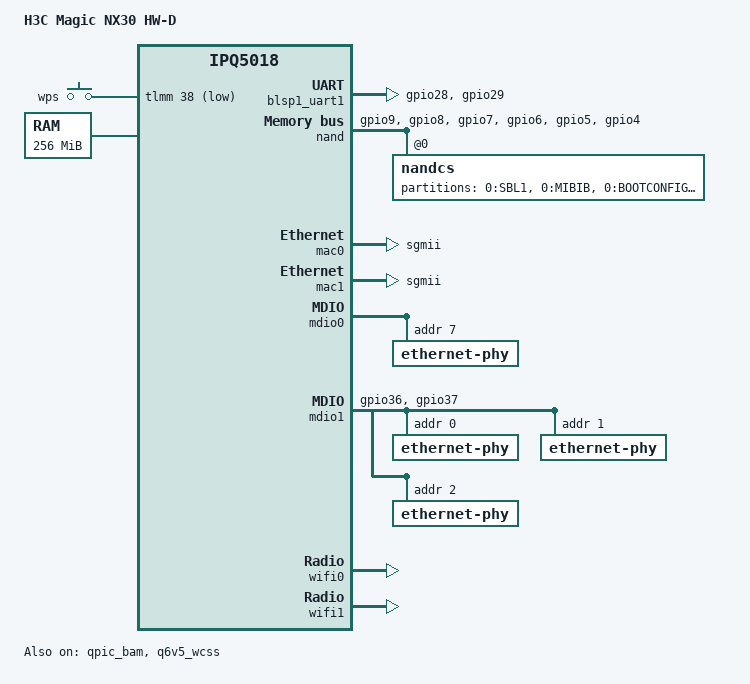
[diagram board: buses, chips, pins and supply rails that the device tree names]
// SPDX-License-Identifier: GPL-2.0-or-later OR MIT
/*
 * Exact-device HW-D profile: NX30, IPQ5000, W25N01GWZEIG EF:BA:21.
 * Uses QSDK 11.5 IPQ5018/ath11k bindings, with only same-device OEM facts
 * ported after fresh FDT and switch inspection. The WPS key is modelled
 * from the same-device OEM FDT (tlmm gpio38, KEY_WPS_BUTTON, active-low,
 * 60 ms debounce). No LED pin has OEM evidence, so LEDs stay unmodelled
 * rather than guessed.
 * The installed D U-Boot accepts the OEM-shaped config@mp02.1 FIT route;
 * therefore rootfs extent/label nodes are intentionally absent. Linux owns
 * the explicit physical A/B map through the early storage-bootargs hook.
 */

/dts-v1/;

#include "ipq5018.dtsi"
#include <dt-bindings/gpio/gpio.h>
#include <dt-bindings/input/linux-event-codes.h>

/ {
	model = "H3C Magic NX30 HW-D";
	compatible = "h3c,nx30-hw-d", "qcom,ipq5018-mp02.1", "qcom,ipq5018";

	#address-cells = <2>;
	#size-cells = <2>;
	interrupt-parent = <&intc>;

	aliases {
		serial0 = &blsp1_uart1;

		ethernet0 = &mac0;
		ethernet1 = &mac1;
	};

	/* WPS key, straight from the same-device OEM FDT: tlmm gpio38,
	 * active-low, 60 ms debounce, EV_KEY/KEY_WPS_BUTTON.  The OEM key
	 * node carries pinctrl-0 -> button_pins; that group is reproduced
	 * below as wps_button_pins. */
	gpio_keys {
		compatible = "gpio-keys";
		pinctrl-0 = <&wps_button_pins>;
		pinctrl-names = "default";

		button@1 {
			label = "wps";
			linux,code = <KEY_WPS_BUTTON>;
			linux,input-type = <EV_KEY>;
			gpios = <&tlmm 38 GPIO_ACTIVE_LOW>;
			debounce-interval = <60>;
		};
	};

	/* Physical NOR is absent on this NAND board. D U-Boot requires this
	 * exact disabled compatibility stub when it fixes up an OEM FIT. */
	soc {
		spi@78b5000 {
			compatible = "qcom,spi-qup-v2.2.1";
			#address-cells = <1>;
			#size-cells = <0>;
			status = "disabled";
			m25p80@0 {
				compatible = "n25q128a11";
				reg = <0>;
				status = "disabled";
			};
		};
	};

	chosen {
		bootargs-append = " swiotlb=1 loglevel=3";
		/* Applied after removing inherited storage selectors; ECC/console stay. */
		h3c,storage-bootargs = "mtdparts=qcom_nand.0:0x80000@0(0:SBL1)ro,0x80000@0x80000(0:MIBIB)ro,0x40000@0x100000(0:BOOTCONFIG)ro,0x40000@0x140000(0:BOOTCONFIG1)ro,0x100000@0x180000(0:QSEE)ro,0x100000@0x280000(0:QSEE_1)ro,0x40000@0x380000(0:DEVCFG)ro,0x40000@0x3c0000(0:DEVCFG_1)ro,0x40000@0x400000(0:CDT)ro,0x40000@0x440000(0:CDT_1)ro,0x80000@0x480000(0:APPSBLENV)ro,0x140000@0x500000(0:APPSBL)ro,0x140000@0x640000(0:APPSBL_1)ro,0x100000@0x780000(0:ART)ro,0x80000@0x880000(0:TRAINING)ro,0x2800000@0x900000(rootfs),0x2800000@0x3100000(oem_rootfs)ro,0x600000@0x5900000(pdt_data)ro,0x600000@0x5f00000(pdt_data_1)ro,0x100000@0x6500000(exp)ro,0x1700000@0x6600000(plugin)ro ubi.mtd=rootfs ubi.block=0,1 root=/dev/ubiblock0_1 rootfstype=squashfs rootwait";
		stdout-path = "serial0:115200n8";
	};


	/* HW-D has 256 MiB integrated RAM (fresh same-device OEM FDT); state it explicitly so a RAM
	 * FIT is independent of what OEM U-Boot passes in the FDT. */
	memory {
		device_type = "memory";
		reg = <0x0 0x40000000 0x0 0x10000000>;
	};

	reserved-memory {
		q6_mem_regions: q6_mem_regions@4b000000 {
			no-map;
#ifndef CONFIG_ATH11K_MEM_PROFILE_256M
			reg = <0x0 0x4b000000 0x0 0x3b00000>;
#else
			reg = <0x0 0x4b000000 0x0 0x4500000>;
#endif
		};
	};
};

&tmc_etr {
	/delete-property/ memory-region;
};

&tlmm {
	blsp_uart0_pins: blsp_uart0_pins {
		pins =
			"gpio28", // RX
			"gpio29"; // TX
		function = "blsp0_uart1";
		drive-strength = <8>;
		bias-disable;
	};

	qspi_nand_pins: qspi_nand_pins {
		clock {
			pins = "gpio9";
			function = "qspi_clk";
			drive-strength = <8>;
			bias-disable;
		};

		cs {
			pins = "gpio8";
			function = "qspi_cs";
			drive-strength = <8>;
			bias-disable;
		};

		data {
			pins = "gpio7", "gpio6", "gpio5", "gpio4";
			function = "qspi_data";
			drive-strength = <8>;
			bias-disable;
		};
	};


	/* MDIO1 (to the external QCA8337).  Without this pinmux the bus
	 * cannot clock and every mdio@90000 transaction returns 0x0000.
	 * Values match the fresh same-device OEM FDT. */
	mdio1_pins: mdio1_pins {
		mux_0 {
			pins = "gpio36";
			function = "mdc";
			drive-strength = <8>;
			bias-pull-up;
		};

		mux_1 {
			pins = "gpio37";
			function = "mdio";
			drive-strength = <8>;
			bias-pull-up;
		};
	};

	/* OEM button_pins group: the WPS pin is also biased up in the pin
	 * configuration, so keep the same drive-strength/bias rather than
	 * relying on the gpio-keys active-low flag alone. */
	wps_button_pins: wps_button_pins {
		pins = "gpio38";
		function = "gpio";
		drive-strength = <8>;
		bias-pull-up;
	};

};

&blsp1_uart1 {
	pinctrl-0 = <&blsp_uart0_pins>;
	pinctrl-names = "default";
	status = "ok";
};

&qpic_bam {
	status = "ok";
};

&nand {
	h3c,nx30-hw-d-nand-safe-config;
	pinctrl-0 = <&qspi_nand_pins>;
	pinctrl-names = "default";
	status = "ok";

	nandcs@0 {
		partitions {
			compatible = "fixed-partitions";
			#address-cells = <1>;
			#size-cells = <1>;

			partition@0 {
				label = "0:SBL1";
				reg = <0x000000 0x080000>;
				read-only;
			};
			partition@80000 {
				label = "0:MIBIB";
				reg = <0x080000 0x080000>;
				read-only;
			};
			partition@100000 {
				label = "0:BOOTCONFIG";
				reg = <0x100000 0x040000>;
			};
			partition@140000 {
				label = "0:BOOTCONFIG1";
				reg = <0x140000 0x040000>;
			};
			partition@180000 {
				label = "0:QSEE";
				reg = <0x180000 0x100000>;
				read-only;
			};
			partition@280000 {
				label = "0:QSEE_1";
				reg = <0x280000 0x100000>;
				read-only;
			};
			partition@380000 {
				label = "0:DEVCFG";
				reg = <0x380000 0x040000>;
				read-only;
			};
			partition@3c0000 {
				label = "0:DEVCFG_1";
				reg = <0x3c0000 0x040000>;
				read-only;
			};
			partition@400000 {
				label = "0:CDT";
				reg = <0x400000 0x040000>;
				read-only;
			};
			partition@440000 {
				label = "0:CDT_1";
				reg = <0x440000 0x040000>;
				read-only;
			};
			partition@480000 {
				label = "0:APPSBLENV";
				reg = <0x480000 0x080000>;
				read-only;
			};
			partition@500000 {
				label = "0:APPSBL";
				reg = <0x500000 0x140000>;
				read-only;
			};
			partition@640000 {
				label = "0:APPSBL_1";
				reg = <0x640000 0x140000>;
				read-only;
			};
			partition@780000 {
				label = "0:ART";
				reg = <0x780000 0x100000>;
				read-only;
			};
			partition@880000 {
				label = "0:TRAINING";
				reg = <0x880000 0x080000>;
				read-only;
			};

			partition@5900000 {
				label = "pdt_data";
				reg = <0x5900000 0x00600000>;
				read-only;
			};
			partition@5f00000 {
				label = "pdt_data_1";
				reg = <0x5f00000 0x00600000>;
				read-only;
			};
			partition@6500000 {
				label = "exp";
				reg = <0x6500000 0x00100000>;
				read-only;
			};
			partition@6600000 {
				label = "plugin";
				reg = <0x6600000 0x01700000>;
				read-only;
			};
		};
	};
};

&soc {


	ess-instance {
		num_devices = <2>;

		/* Internal ESS (MAC0 side): WAN path via IPQ5018 GE PHY addr 7,
		 * MAC1 side forced to the QCA8337 SerDes. OEM-extracted values. */
		ess-switch@0x39c00000 {
			compatible = "qcom,ess-switch-ipq50xx";
			device_id = <0>;

			cmnblk_clk = "internal_96MHz";
			switch_mac_mode = <0xf>; /* PORT_WRAPPER_SGMII_CHANNEL0 */

			qcom,port_phyinfo {
				port@0 {
					port_id = <1>;

					mdiobus = <&mdio0>;
					phy_address = <7>;
				};

				port@1 {
					port_id = <2>;

					forced-speed = <1000>;
					forced-duplex = <1>;
				};
			};
		};

		/* External QCA8337 (HW-D hardware-validated live DTB):
		 * chip 0x1302, MDIO access, reset GPIO26 (AR8337 switch reset on HW-D),
		 * CPU bmp 0x40 (port6), LAN bmp 0x1c (ports 2,3,4 only; port1 unused and down),
		 * WAN bmp 0x0 (WAN jack rides the internal PHY path).
		 * qcom,port_phyinfo intentionally omitted: AR8337 LAN PHYs are
		 * managed by SSDK direct MDIO access (FIX-F1, frozen evidence). */
		ess-switch1@1 {
			compatible = "qcom,ess-switch-qca83xx";
			device_id = <1>;

			switch_access_mode = "mdio";
			mdio-bus = <&mdio1>;

			reset_gpio = <&tlmm 26 0>;

			qca,ar8327-initvals = <
				0x00004 0x7600000   /* PAD0_MODE */
				0x00008 0x1000000   /* PAD5_MODE */
				0x0000c 0x80        /* PAD6_MODE */
				0x00010 0x2613a0    /* PORT6 FORCE MODE */
				0x000e4 0xaa545     /* MAC_POWER_SEL */
				0x000e0 0xc74164de  /* SGMII_CTRL */
				0x0007c 0x4e        /* PORT0_STATUS */
				0x00094 0x4e        /* PORT6_STATUS */
			>;

			switch_cpu_bmp = <0x40>;
			switch_lan_bmp = <0x1c>;
			switch_wan_bmp = <0x0>;

			/* LAN PHYs live on the external switch: port_id 1-4 map to
			 * PHY addresses 0-3 on mdio1 (same-device OEM FDT port table). */
			qcom,port_phyinfo {
				port@0 {
					port_id = <1>;
					phy_address = <0>;
				};

				port@1 {
					port_id = <2>;
					phy_address = <1>;
				};

				port@2 {
					port_id = <3>;
					phy_address = <2>;
				};

				port@3 {
					port_id = <4>;
					phy_address = <3>;
				};
			};
		};
	};

	/* WAN: MAC0 -> internal GE PHY (addr 7 on mdio0) -> QCA8337 phy4/port5 */
	mac0: dp1 {
		compatible = "qcom,nss-dp";
		device_type = "network";
		qcom,id = <1>;

		reg = <0x39C00000 0x10000>;
		interrupts = <GIC_SPI 101 IRQ_TYPE_LEVEL_HIGH>;
		clocks = <&gcc GCC_SNOC_GMAC0_AXI_CLK>;
		clock-names = "nss-snoc-gmac-axi-clk";

		qcom,mactype = <2>; // GMAC_HAL_TYPE_SYN_GMAC
		local-mac-address = [000000000000];
		mdio-bus = <&mdio0>;
		qcom,phy-mdio-addr = <7>;
		phy-mode = "sgmii";
		qcom,rx-page-mode = <0>;
	};

	/* LAN/CPU path: MAC1 ---SGMII---> QCA8337 port6 */
	mac1: dp2 {
		compatible = "qcom,nss-dp";
		device_type = "network";
		qcom,id = <2>;

		reg = <0x39D00000 0x10000>;
		interrupts = <GIC_SPI 109 IRQ_TYPE_LEVEL_HIGH>;
		clocks = <&gcc GCC_SNOC_GMAC1_AXI_CLK>;
		clock-names = "nss-snoc-gmac-axi-clk";

		qcom,mactype = <2>; // GMAC_HAL_TYPE_SYN_GMAC
		local-mac-address = [000000000000];
		phy-mode = "sgmii";
		qcom,rx-page-mode = <0>;
	};
};

&mdio0 {
	status = "ok";

	// IPQ5018 GE Phy (addr 7) -> QCA8337 Phy4
	ethernet-phy@0 {
		reg = <7>;
	};
};

&mdio1 {
	status = "ok";
	pinctrl-0 = <&mdio1_pins>;
	pinctrl-names = "default";

	/* External QCA8337 reset.  The qca-mdio driver (mdio-qca.c) consumes
	 * this in qca_phy_reset(), driven BEFORE of_mdiobus_register():
	 *   gpio_direction_output(gpio, 0)  -> assert  (100ms)
	 *   gpio_set_value(gpio, 1)         -> release (100ms)
	 * Value and GPIO number are taken from the HW-D OEM working DTB
	 * (/proc/device-tree/soc/mdio@90000/phy-reset-gpio = <&tlmm 26 0>). */
	phy-reset-gpio = <&tlmm 26 0>;

	/* Three external PHYs, matching the OEM working device tree
	 * (ethernet-phy@0, @1, @2) and the driver's QCA_MAX_PHY_RESET limit. */
	ethernet-phy@0 {
		reg = <0>;
	};

	ethernet-phy@1 {
		reg = <1>;
	};

	ethernet-phy@2 {
		reg = <2>;
	};
};

&q6v5_wcss {
	compatible = "qcom,ipq5018-q6-mpd";
	#address-cells = <1>;
	#size-cells = <1>;
	ranges;

	resets =
		<&gcc GCC_WCSSAON_RESET>,
		<&gcc GCC_WCSS_Q6_BCR>;
	reset-names =
		"wcss_aon_reset",
		"wcss_q6_reset";

	clocks =
		<&gcc GCC_Q6_AXIS_CLK>,
		<&gcc GCC_WCSS_ECAHB_CLK>,
		<&gcc GCC_Q6_AXIM_CLK>,
		<&gcc GCC_Q6_AXIM2_CLK>,
		<&gcc GCC_Q6_AHB_CLK>,
		<&gcc GCC_Q6_AHB_S_CLK>,
		<&gcc GCC_WCSS_AXI_S_CLK>;
	clock-names =
		"gcc_q6_axis_clk",
		"gcc_wcss_ecahb_clk",
		"gcc_q6_axim_clk",
		"gcc_q6_axim2_clk",
		"gcc_q6_ahb_clk",
		"gcc_q6_ahb_s_clk",
		"gcc_wcss_axi_s_clk";

	reg =
		<0x0cd00000 0x4040>,
		<0x1938000 0x8>,
		<0x193d204 0x4>;
	reg-names =
		"qdsp6",
		"tcsr-msip",
		"tcsr-q6";

	memory-region = <&q6_mem_regions>;

	qcom,rproc = <&q6v5_wcss>;
	firmware = "IPQ5018/q6_fw.mdt";

	qcom,bootargs_smem = <507>;
	/* OEM-extracted HW-D UserPD boot-args (fresh same-device OEM FDT):
	 * {type 0x1, len 4, pd_id 3, gpio 0x0f}, {type 0x2(PCIE1), len 4,
	 *  pd_id 2, gpio 0x12} -- differs from the AX3000 donor wiring. */
	boot-args = <0x1 0x4 0x3 0x0f 0x0 0x0>,
		    <0x2 0x4 0x2 0x1b 0x0 0x0>;

	status = "ok";

	// IPQ5018 internal 2.4G radio (AHB)
	q6_wcss_pd1: remoteproc_pd1@4ab000 {
		compatible = "qcom,ipq5018-wcss-ahb-mpd";

		resets =
			<&gcc GCC_WCSSAON_RESET>,
			<&gcc GCC_WCSS_BCR>,
			<&gcc GCC_CE_BCR>;
		reset-names =
			"wcss_aon_reset",
			"wcss_reset",
			"ce_reset";

		clocks =
			<&gcc GCC_WCSS_AHB_S_CLK>,
			<&gcc GCC_WCSS_ACMT_CLK>,
			<&gcc GCC_WCSS_AXI_M_CLK>;
		clock-names =
			"gcc_wcss_ahb_s_clk",
			"gcc_wcss_acmt_clk",
			"gcc_wcss_axi_m_clk";

		reg = <0x4ab000 0x20>;
		reg-names = "rmb";

		qcom,halt-regs = <&tcsr_q6_block 0xa000 0xd000 0x0>;

		interrupts-extended =
			<&wcss_smp2p_in 8 0>,
			<&wcss_smp2p_in 9 0>,
			<&wcss_smp2p_in 12 0>,
			<&wcss_smp2p_in 11 0>;
		interrupt-names =
			"fatal",
			"ready",
			"spawn-ack",
			"stop-ack";

		qcom,smem-states =
			<&wcss_smp2p_out 8>,
			<&wcss_smp2p_out 9>,
			<&wcss_smp2p_out 10>;
		qcom,smem-state-names =
			"shutdown",
			"stop",
			"spawn";

		firmware = "IPQ5018/q6_fw.mdt";
		m3_firmware = "IPQ5018/m3_fw.mdt";
	};

	// QCN6102 physical radio on PCIe1 (software family path: qcn6122)
	q6_wcss_pd2: remoteproc_pd2 {
		compatible = "qcom,ipq5018-wcss-pcie-mpd";

		interrupts-extended =
			<&wcss_smp2p_in 16 0>,
			<&wcss_smp2p_in 17 0>,
			<&wcss_smp2p_in 20 0>,
			<&wcss_smp2p_in 19 0>;
		interrupt-names =
			"fatal",
			"ready",
			"spawn-ack",
			"stop-ack";

		qcom,smem-states =
			<&wcss_smp2p_out 16>,
			<&wcss_smp2p_out 17>,
			<&wcss_smp2p_out 18>;
		qcom,smem-state-names =
			"shutdown",
			"stop",
			"spawn";

		firmware = "IPQ5018/q6_fw.mdt";
		m3_firmware = "qcn6122/m3_fw.mdt";
	};
};

&wifi0 {
	// IPQ5018 internal 2.4G
	// Internal low-priority radio; external QCN6102 is the high-priority 5G radio.
	nss-radio-priority = <0>;
	qcom,multipd_arch;
	qcom,rproc = <&q6_wcss_pd1>;
	qcom,userpd-subsys-name = "q6v5_wcss_userpd1";

	// HW-D OEM board_id (integrated radio)
	qcom,board_id = <0x10>;

	qcom,bdf-addr = <0x4c400000 0x4c400000 0x4c400000>;
	qcom,caldb-addr = <0 0 0>;
#ifndef CONFIG_ATH11K_MEM_PROFILE_256M
	m3-dump-addr = <0x4d400000>;
#else
	m3-dump-addr = <0x4d100000>;
#endif

	status = "ok";
};

&wifi1 {
	// QCN6102 physical radio (software driver family: qcn6122)
	// External high-priority 5G radio; IPQ5018 internal radio is low priority.
	nss-radio-priority = <1>;
	qcom,multipd_arch;
	qcom,rproc = <&q6_wcss_pd2>;
	qcom,userpd-subsys-name = "q6v5_wcss_userpd2";

	// HW-D OEM board_id (external radio)
	qcom,board_id = <0x60>;

	qcom,bdf-addr = <0x4d300000 0x4d300000 0x4d300000>;
	qcom,caldb-addr = <0 0 0>;
#ifndef CONFIG_ATH11K_MEM_PROFILE_256M
	m3-dump-addr = <0x4ea00000>;
#else
	m3-dump-addr = <0x4e200000>;
#endif

	status = "ok";
};

&wifi2 {
	status = "disabled";
};

&wifi3 {
	status = "disabled";
};
